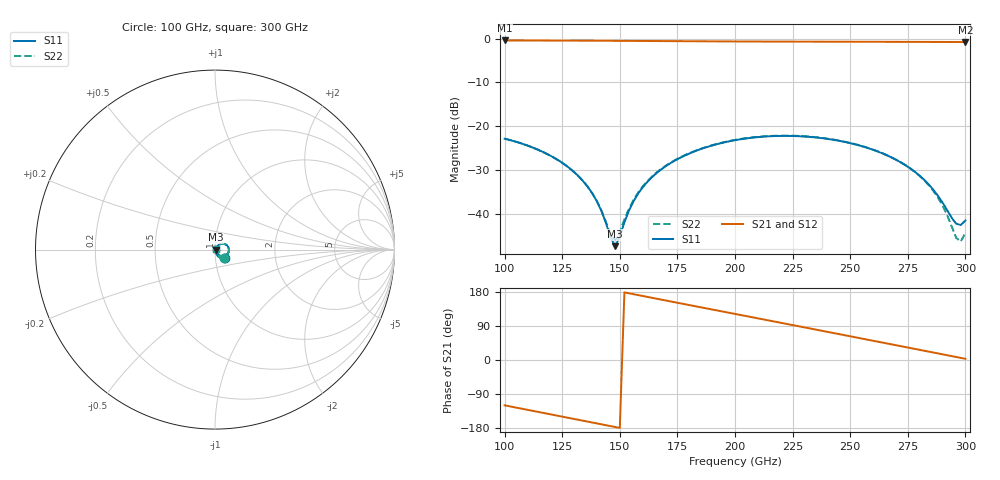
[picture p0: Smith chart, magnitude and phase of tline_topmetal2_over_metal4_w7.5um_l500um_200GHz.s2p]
#  GHZ S DB R 50
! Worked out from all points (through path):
!   101 points, 100 GHz to 300 GHz, reference 50 ohm
!   highest |S21| = -0.44 dB at 100 GHz (marker M1); lowest = -0.8 dB at 300 GHz (marker M2)
!   group delay of S21, straight-line fit = 3.29 ps
!   lowest |S11| = -47.4 dB at 148 GHz (marker M3), VSWR 1.01, Z = 50.4 - j0.0488 ohm
!   |S11| at or under -10 dB: start of sweep to end of sweep
!   |S22| runs from -46.4 to -22.2 dB; largest |S21 - S12| = 1.6e-14
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100  -22.87 -42.4  -0.44 -119.6  -0.44 -119.6  -22.87 -42.7
120  -26.78 -62.3  -0.47 -143.5  -0.47 -143.5  -26.79 -62.4
134  -32.51 -72.6  -0.49 -160.2  -0.49 -160.2  -32.52 -72.0
140  -37.12 -71.8  -0.50 -167.3  -0.50 -167.3  -37.09 -70.0
142  -39.34 -68.5  -0.51 -169.7  -0.51 -169.7  -39.26 -65.9
146  -45.46 -43.1  -0.52 -174.5  -0.52 -174.5  -44.77 -38.3
148  -47.41 -6.5  -0.52 -176.8  -0.52 -176.8  -46.08 -5.1
156  -37.12 55.2  -0.54 173.6  -0.54 173.6  -36.81 51.7
162  -32.71 56.0  -0.56 166.5  -0.56 166.5  -32.54 53.1
168  -29.87 52.6  -0.58 159.4  -0.58 159.4  -29.75 50.0
182  -25.86 40.5  -0.62 142.8  -0.62 142.8  -25.78 38.1
200  -23.21 22.0  -0.67 121.6  -0.67 121.6  -23.15 19.6
218  -22.25 2.2  -0.70 100.4  -0.70 100.4  -22.19 -0.4
234  -22.53 -15.4  -0.72 81.5  -0.72 81.5  -22.48 -18.3
250  -23.89 -32.3  -0.73 62.6  -0.73 62.6  -23.84 -35.8
268  -27.17 -49.5  -0.75 41.2  -0.75 41.2  -27.14 -54.4
278  -30.40 -56.3  -0.76 29.3  -0.76 29.3  -30.43 -62.9
286  -34.47 -56.4  -0.78 19.8  -0.78 19.8  -34.72 -66.1
290  -37.38 -50.8  -0.78 15.1  -0.78 15.1  -38.03 -63.4
296  -42.29 -16.8  -0.80 7.9  -0.80 7.9  -45.51 -28.8
298  -42.58 4.2  -0.80 5.6  -0.80 5.6  -46.37 3.9
300  -41.55 23.1  -0.80 3.2  -0.80 3.2  -44.33 31.6
